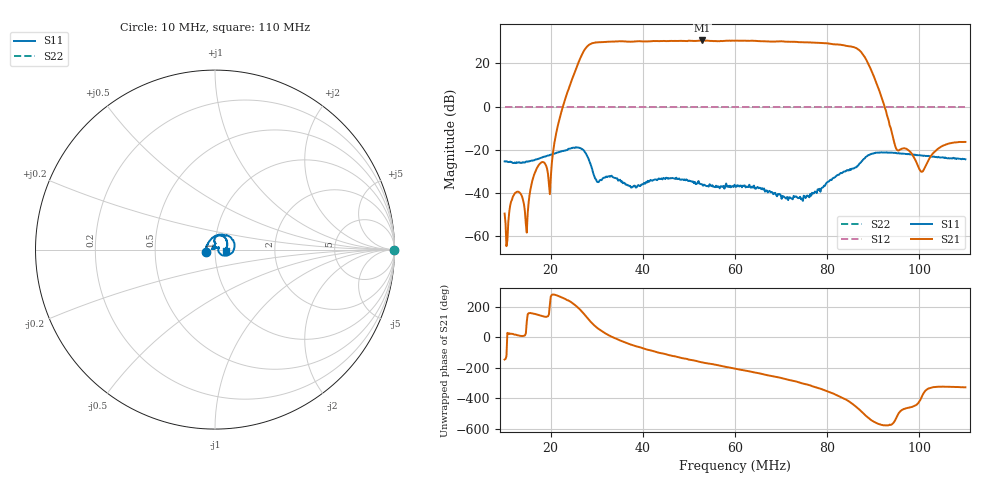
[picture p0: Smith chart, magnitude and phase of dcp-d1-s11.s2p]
! Anritsu VNA Master:  Model: MS2034B/10/19/501
! SN:  1337062
! /bd0/ovro-jan-2016/dcp-d1-s11.s2p
! Existing Calibration Information:
! TYPE:  Current Settings,  Active Cal Settings
! TIME:  01/08/2016 09:10:38 PM,  01/08/2016 08:43:08 PM
! INTERNAL TEMP:  41.5 C,  45.0 C
! # POINTS:  500,  500
! START FREQ:  10.000 MHz,  10.000 MHz
! STOP FREQ:  110.000 MHz,  110.000 MHz
! SOURCE POWER:  Low,  Low
! IFBW:  100 Hz,  100 Hz
! AVG FACTOR:  3 ,  3
! REF PLANE 1:  2.2245 m,  2.2245 m
! REF PLANE 2:  0 mm,  0 mm
! CAL TYPE:  1P2P S11,S21,  1P2P S11,S21
! CAL METHOD:  SOLT,  SOLT
! CAL LINE TYPE:  Coax,  Coax
! DUT PORT 1:  K-Conn(M),  K-Conn(M)
! DUT PORT 2:  N-Conn(M),  N-Conn(M)
! CAL STATUS:  OK: Accuracy High,  --
# GHZ S DB R 50.0
! FREQ.GHZ  S11DB  S11A  S21DB  S21A  S12DB  S12A  S22DB  S22A
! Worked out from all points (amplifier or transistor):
!   500 points, 10 MHz to 110 MHz, reference 50 ohm
!   highest |S21| = 30.6 dB at 52.89 MHz (marker M1)
!   |S21| within 3 dB of that: 27.83 MHz to 85.54 MHz (57.72 MHz wide, 102 % of centre)
!   unconditionally stable (mu >= 1): nowhere
!   at 26.63 MHz: K = 7.49, MSG = 11.7 dB, |S12| = 0.0 dB
!   at 60.1 MHz: K = 16.74, MSG = 15.3 dB, |S12| = 0.0 dB
!   at 110 MHz: K = 0.03, MSG = -8.2 dB, |S12| = 0.0 dB
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0.01  -25.37 -168.2  -49.55 -145.6  0.00 0.0  0.00 0.0
0.02342685  -20.20 53.4  5.34 -115.3  0.00 0.0  0.00 0.0
0.02563126  -18.99 23.8  18.27 -158.7  0.00 0.0  0.00 0.0
0.02683367  -19.73 -2.8  24.35 165.6  0.00 0.0  0.00 0.0
0.02783567  -22.52 -26.3  27.67 130.8  0.00 0.0  0.00 0.0
0.02943888  -32.07 -32.2  29.52 77.9  0.00 0.0  0.00 0.0
0.03124249  -33.39 22.8  29.85 37.3  0.00 0.0  0.00 0.0
0.03324649  -32.02 28.6  30.13 3.0  0.00 0.0  0.00 0.0
0.03825651  -36.65 67.2  30.19 -56.6  0.00 0.0  0.00 0.0
0.04346693  -33.31 98.2  30.34 -101.1  0.00 0.0  0.00 0.0
0.05288577  -36.05 121.9  30.64 -164.2  0.00 0.0  0.00 0.0
0.0601002  -37.07 159.9  30.50 154.4  0.00 0.0  0.00 0.0
0.06971944  -40.53 135.8  30.29 96.3  0.00 0.0  0.00 0.0
0.07312625  -41.60 101.2  29.97 72.3  0.00 0.0  0.00 0.0
0.07673347  -39.91 90.6  29.70 40.4  0.00 0.0  0.00 0.0
0.08174349  -32.56 92.0  28.82 -13.5  0.00 0.0  0.00 0.0
0.0837475  -30.07 88.7  28.35 -42.2  0.00 0.0  0.00 0.0
0.0855511  -28.68 88.2  27.64 -76.6  0.00 0.0  0.00 0.0
0.08795591  -24.29 92.7  23.63 -139.6  0.00 0.0  0.00 0.0
0.08975952  -21.80 75.4  15.93 174.8  0.00 0.0  0.00 0.0
0.09336673  -21.34 48.8  -6.59 145.6  0.00 0.0  0.00 0.0
0.11  -24.40 -5.3  -16.37 33.0  0.00 0.0  0.00 0.0
